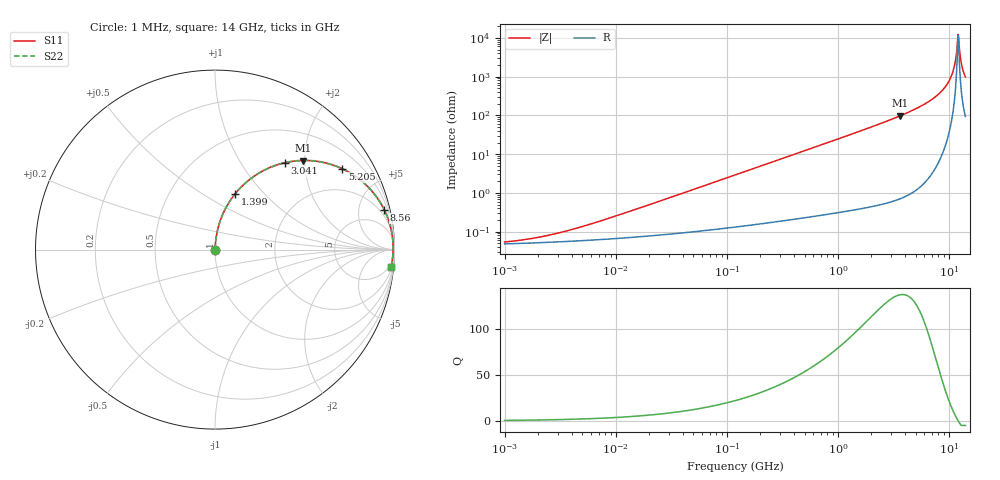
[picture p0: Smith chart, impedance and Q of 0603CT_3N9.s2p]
# MHz  S  MA  R  50
!Freq  MagS11  AngS11  MagS21  AngS21  MagS12  AngS12  MagS22  AngS22
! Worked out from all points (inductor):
!   961 points, 1 MHz to 14 GHz, reference 50 ohm
!   read as one part in series: L = 3.9 nH near 7.766 MHz
!   highest Q = 138 at 3.638 GHz (marker M1), where L = 4.29 nH
!   self-resonance near 12.01 GHz
!   S11 on the Smith chart (normalised r, x): 1 MHz: 1.00, +0.00; 1.399 GHz: 1.01, +0.70; 3.041 GHz: 1.01, +1.59; 5.205 GHz: 1.03, +3.13; 8.56 GHz: 1.18, +8.46; 14 GHz: 3, -20
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1  0.0005422 26.8  0.9995 -0.0  0.9995 -0.0  0.0005422 26.8
2.173037  0.0007466 45.4  0.9995 -0.0  0.9995 -0.0  0.0007466 45.4
4.913826  0.001338 64.0  0.9994 -0.1  0.9994 -0.1  0.001338 64.0
24.14569  0.005967 81.8  0.9992 -0.3  0.9992 -0.3  0.005967 81.8
118.6477  0.02906 85.7  0.9983 -1.7  0.9983 -1.7  0.02906 85.7
583.0143  0.1414 80.9  0.9875 -8.1  0.9875 -8.1  0.1414 80.9
1399.459  0.3273 70.3  0.9415 -19.1  0.9415 -19.1  0.3273 70.3
2864.831  0.5948 53.1  0.7994 -36.5  0.7994 -36.5  0.5948 53.1
3041.076  0.6205 51.2  0.7796 -38.3  0.7796 -38.3  0.6205 51.2
3637.575  0.6977 45.3  0.7114 -44.2  0.7114 -44.2  0.6977 45.3
5204.529  0.84 32.4  0.5359 -57.1  0.5359 -57.1  0.84 32.4
6876.697  0.9246 21.7  0.3702 -67.6  0.3702 -67.6  0.9246 21.7
8559.534  0.9685 13.2  0.229 -75.5  0.229 -75.5  0.9685 13.2
9645.098  0.9831 8.6  0.1498 -79.2  0.1498 -79.2  0.9831 8.6
10548.7  0.9897 5.1  0.08996 -80.8  0.08996 -80.8  0.9897 5.1
11086.79  0.9917 3.2  0.05673 -79.9  0.05673 -79.9  0.9917 3.2
11652.33  0.9925 1.3  0.02402 -71.1  0.02402 -71.1  0.9925 1.3
12005.41  0.9924 0.2  0.008101 -20.4  0.008101 -20.4  0.9924 0.2
12369.18  0.9919 -1.0  0.01894 64.2  0.01894 64.2  0.9919 -1.0
12871.42  0.9906 -2.5  0.04469 76.6  0.04469 76.6  0.9906 -2.5
13261.44  0.9891 -3.7  0.06447 78.4  0.06447 78.4  0.9891 -3.7
14000  0.9853 -5.7  0.1005 78.7  0.1005 78.7  0.9853 -5.7
